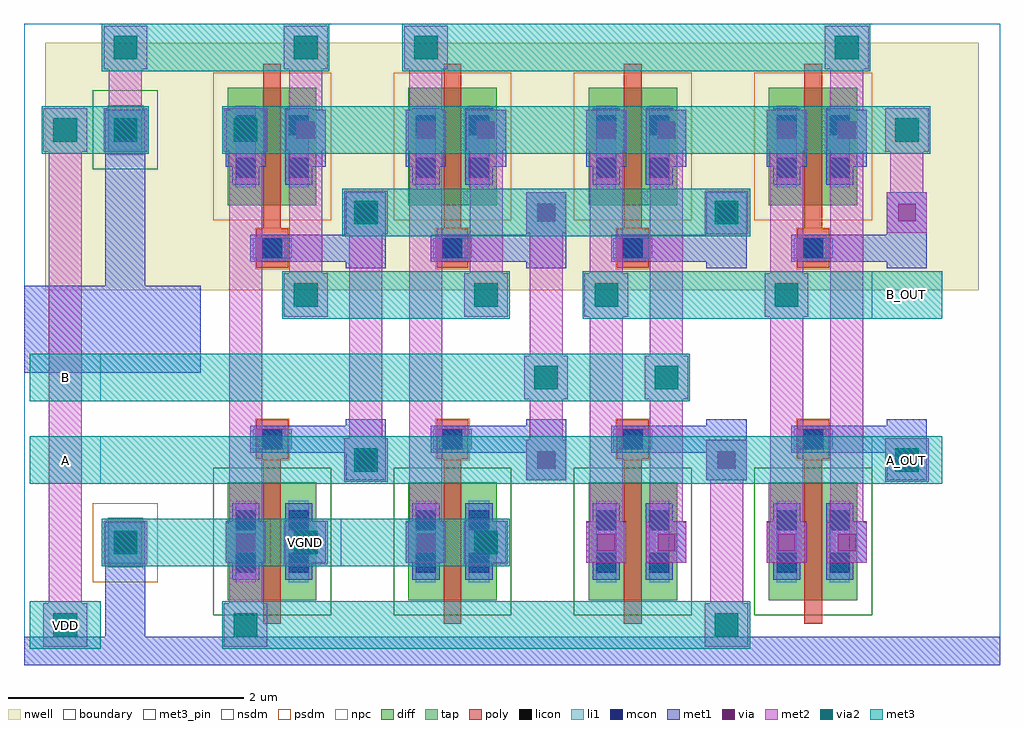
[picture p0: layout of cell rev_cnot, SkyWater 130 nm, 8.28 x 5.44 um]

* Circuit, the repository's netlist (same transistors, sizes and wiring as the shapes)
* NGSPICE file created from rev_cnot.ext - technology: sky130A

.subckt rev_cnot VDD VGND A B A_OUT B_OUT
X0 VDD B a_652_110# VDD sky130_fd_pr__pfet_01v8 ad=0.3 pd=2.6 as=0.3 ps=2.6 w=1 l=0.15
X1 VGND A a_346_110# VGND sky130_fd_pr__nfet_01v8 ad=0.3 pd=2.6 as=0.3 ps=2.6 w=1 l=0.15
V0 A A_OUT 0
X2 VGND B a_652_110# VGND sky130_fd_pr__nfet_01v8 ad=0.3 pd=2.6 as=0.3 ps=2.6 w=1 l=0.15
X3 B A B_OUT VDD sky130_fd_pr__pfet_01v8 ad=0.3 pd=2.6 as=0.3 ps=2.6 w=1 l=0.15
X4 a_652_110# a_346_110# B_OUT VDD sky130_fd_pr__pfet_01v8 ad=0.3 pd=2.6 as=0.3 ps=2.6 w=1 l=0.15
X5 B a_346_110# B_OUT VGND sky130_fd_pr__nfet_01v8 ad=0.3 pd=2.6 as=0.3 ps=2.6 w=1 l=0.15
X6 a_652_110# A B_OUT VGND sky130_fd_pr__nfet_01v8 ad=0.3 pd=2.6 as=0.3 ps=2.6 w=1 l=0.15
X7 VDD A a_346_110# VDD sky130_fd_pr__pfet_01v8 ad=0.3 pd=2.6 as=0.3 ps=2.6 w=1 l=0.15
.ends

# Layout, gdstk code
import gdstk
lib = gdstk.Library(unit=1e-6, precision=1e-09)
def R(c, l, rs):  # rectangles x0, y0, x1, y1
    for r in rs: c.add(gdstk.rectangle(r[:2], r[2:], *l))
def A(c, l, x, y, w, h, nx, ny, dx, dy):  # array of equal rectangles
    R(c, l, [(x+i*dx, y+j*dy, x+i*dx+w, y+j*dy+h) for i in range(nx) for j in range(ny)])
nwell = (64, 20)
diff = (65, 20)
tap = (65, 44)
poly = (66, 20)
licon = (66, 44)
li1 = (67, 20)
mcon = (67, 44)
met1 = (68, 20)
via = (68, 44)
met2 = (69, 20)
via2 = (69, 44)
met3_pin = (70, 16)
met3 = (70, 20)
nsdm = (93, 44)
psdm = (94, 20)
npc = (95, 20)
boundary = (235, 4)

rev_cnot = lib.new_cell('rev_cnot')
A(rev_cnot, nwell, 1.425, 3.18, 1.36, 2.1, 4, 1, 1.53, 0)
R(rev_cnot, nwell, [(0.18,3.18,8.1,5.28)])
A(rev_cnot, diff, 1.73, 0.55, 0.75, 1, 4, 2, 1.53, 3.35)
R(rev_cnot, tap, [(0.71,0.83,1.01,1.25), (0.71,4.33,1.01,4.75)])
A(rev_cnot, poly, 2.03, 0.35, 0.15, 1.4, 4, 2, 1.53, 3.35)
A(rev_cnot, poly, 1.97, 1.75, 0.27, 0.33, 4, 2, 1.53, 1.62)
A(rev_cnot, licon, 2.02, 1.83, 0.17, 0.17, 4, 2, 1.53, 1.62)
R(rev_cnot, licon, [(1.795,0.785,1.965,0.955), (2.245,0.785,2.415,0.955), (3.325,0.785,3.495,0.955), (3.775,0.785,3.945,0.955), (4.855,0.785,5.025,0.955), (5.305,0.785,5.475,0.955), (6.385,0.785,6.555,0.955), (6.835,0.785,7.005,0.955), (0.775,0.955,0.945,1.125), (1.795,1.145,1.965,1.315), (2.245,1.145,2.415,1.315), (3.325,1.145,3.495,1.315), (3.775,1.145,3.945,1.315), (4.855,1.145,5.025,1.315), (5.305,1.145,5.475,1.315), (6.385,1.145,6.555,1.315), (6.835,1.145,7.005,1.315), (1.795,4.135,1.965,4.305), (2.245,4.135,2.415,4.305), (3.325,4.135,3.495,4.305), (3.775,4.135,3.945,4.305), (4.855,4.135,5.025,4.305), (5.305,4.135,5.475,4.305), (6.385,4.135,6.555,4.305), (6.835,4.135,7.005,4.305), (0.775,4.455,0.945,4.625), (1.795,4.495,1.965,4.665), (2.245,4.495,2.415,4.665), (3.325,4.495,3.495,4.665), (3.775,4.495,3.945,4.665), (4.855,4.495,5.025,4.665), (5.305,4.495,5.475,4.665), (6.385,4.495,6.555,4.665), (6.835,4.495,7.005,4.665)])
A(rev_cnot, li1, 1.94, 1.83, 0.33, 0.17, 4, 2, 1.53, 1.62)
R(rev_cnot, li1, [(1.795,0.705,1.965,1.395), (2.245,0.705,2.415,1.395), (3.325,0.705,3.495,1.395), (3.775,0.705,3.945,1.395), (4.855,0.705,5.025,1.395), (5.305,0.705,5.475,1.395), (6.385,0.705,6.555,1.395), (6.835,0.705,7.005,1.395), (0.72,0.87,1,1.21), (1.795,4.055,1.965,4.745), (2.245,4.055,2.415,4.745), (3.325,4.055,3.495,4.745), (3.775,4.055,3.945,4.745), (4.855,4.055,5.025,4.745), (5.305,4.055,5.475,4.745), (6.385,4.055,6.555,4.745), (6.835,4.055,7.005,4.745), (0.72,4.37,1,4.71)])
A(rev_cnot, mcon, 2.02, 1.83, 0.17, 0.17, 4, 2, 1.53, 1.62)
R(rev_cnot, mcon, [(1.795,0.785,1.965,0.955), (2.245,0.785,2.415,0.955), (3.325,0.785,3.495,0.955), (3.775,0.785,3.945,0.955), (4.855,0.785,5.025,0.955), (5.305,0.785,5.475,0.955), (6.385,0.785,6.555,0.955), (6.835,0.785,7.005,0.955), (0.775,0.955,0.945,1.125), (1.795,1.145,1.965,1.315), (2.245,1.145,2.415,1.315), (3.325,1.145,3.495,1.315), (3.775,1.145,3.945,1.315), (4.855,1.145,5.025,1.315), (5.305,1.145,5.475,1.315), (6.385,1.145,6.555,1.315), (6.835,1.145,7.005,1.315), (1.795,4.135,1.965,4.305), (2.245,4.135,2.415,4.305), (3.325,4.135,3.495,4.305), (3.775,4.135,3.945,4.305), (4.855,4.135,5.025,4.305), (5.305,4.135,5.475,4.305), (6.385,4.135,6.555,4.305), (6.835,4.135,7.005,4.305), (0.775,4.455,0.945,4.625), (1.795,4.495,1.965,4.665), (2.245,4.495,2.415,4.665), (3.325,4.495,3.495,4.665), (3.775,4.495,3.945,4.665), (4.855,4.495,5.025,4.665), (5.305,4.495,5.475,4.665), (6.385,4.495,6.555,4.665), (6.835,4.495,7.005,4.665)])
A(rev_cnot, met1, 1.765, 0.935, 0.23, 0.23, 4, 2, 1.53, 3.35)
A(rev_cnot, met1, 2.215, 0.935, 0.29, 0.23, 4, 2, 1.53, 3.35)
A(rev_cnot, met1, 2.73, 1.57, 0.34, 0.34, 4, 2, 1.53, 2.1)
A(rev_cnot, met1, 2.73, 1.57, 0.34, 0.515, 4, 1, 1.53, 0)
A(rev_cnot, met1, 1.92, 1.8, 0.37, 0.23, 4, 2, 1.53, 1.62)
A(rev_cnot, met1, 1.99, 1.8, 1.025, 0.23, 4, 2, 1.53, 1.62)
A(rev_cnot, met1, 2.73, 3.365, 0.34, 0.645, 4, 1, 1.53, 0)
R(rev_cnot, met1, [(0,0,8.28,0.24), (0.69,0,1.03,1.21), (1.765,0.725,1.995,1.375), (2.215,0.725,2.445,1.375), (3.295,0.725,3.525,1.375), (3.745,0.725,3.975,1.375), (4.825,0.725,5.055,1.375), (5.275,0.725,5.505,1.375), (6.355,0.725,6.585,1.375), (6.805,0.725,7.035,1.375), (0.69,0.87,1.03,1.21), (1.71,0.87,2.05,1.22), (1.71,0.87,2.05,1.21), (2.22,0.87,2.56,1.22), (2.22,0.87,2.56,1.21), (3.24,0.87,3.58,1.22), (3.24,0.87,3.58,1.21), (3.75,0.87,4.09,1.22), (3.75,0.87,4.09,1.21), (4.77,0.87,5.11,1.22), (4.77,0.87,5.11,1.21), (5.28,0.87,5.62,1.22), (5.28,0.87,5.62,1.21), (6.3,0.87,6.64,1.22), (6.3,0.87,6.64,1.21), (6.81,0.87,7.15,1.22), (6.81,0.87,7.15,1.21), (0,2.48,1.5,3.22), (0.69,3.22,1.03,4.71), (1.765,4.075,1.995,4.725), (2.215,4.075,2.445,4.725), (3.295,4.075,3.525,4.725), (3.745,4.075,3.975,4.725), (4.825,4.075,5.055,4.725), (5.275,4.075,5.505,4.725), (6.355,4.075,6.585,4.725), (6.805,4.075,7.035,4.725), (1.71,4.23,2.05,4.71), (2.22,4.23,2.56,4.71), (3.24,4.23,3.58,4.71), (3.75,4.23,4.09,4.71), (4.77,4.23,5.11,4.71), (5.28,4.23,5.62,4.71), (6.3,4.23,6.64,4.71), (6.81,4.23,7.15,4.71), (0.69,4.37,1.03,4.71), (1.71,4.37,2.05,4.71), (2.22,4.37,2.56,4.71), (3.24,4.37,3.58,4.71), (3.75,4.37,4.09,4.71), (4.77,4.37,5.11,4.71), (5.28,4.37,5.62,4.71), (6.3,4.37,6.64,4.71), (6.81,4.37,7.15,4.71)])
A(rev_cnot, via, 2.825, 1.665, 0.15, 0.15, 4, 2, 1.53, 2.1)
R(rev_cnot, via, [(0.785,0.965,0.935,1.115), (1.805,0.965,1.955,1.115), (2.315,0.965,2.465,1.115), (3.335,0.965,3.485,1.115), (3.845,0.965,3.995,1.115), (4.865,0.965,5.015,1.115), (5.375,0.965,5.525,1.115), (6.395,0.965,6.545,1.115), (6.905,0.965,7.055,1.115), (0.785,4.465,0.935,4.615), (1.805,4.465,1.955,4.615), (2.315,4.465,2.465,4.615), (3.335,4.465,3.485,4.615), (3.845,4.465,3.995,4.615), (4.865,4.465,5.015,4.615), (5.375,4.465,5.525,4.615), (6.395,4.465,6.545,4.615), (6.905,4.465,7.055,4.615)])
A(rev_cnot, met2, 0.675, 0.855, 0.37, 0.37, 3, 1, 1.53, 0)
A(rev_cnot, met2, 0.21, 0.9, 0.28, 0.98, 4, 1, 1.53, 0)
A(rev_cnot, met2, 5.31, 0.9, 0.28, 0.98, 4, 1, 0.51, 0)
A(rev_cnot, met2, 2.73, 1.57, 0.34, 0.34, 4, 2, 1.53, 2.1)
A(rev_cnot, met2, 0.21, 1.6, 0.28, 0.98, 1, 4, 0, 0.7)
A(rev_cnot, met2, 4.29, 1.6, 0.28, 0.98, 3, 2, 0.51, 0.7)
A(rev_cnot, met2, 6.33, 1.6, 0.28, 0.98, 1, 3, 0, 0.7)
A(rev_cnot, met2, 6.84, 1.6, 0.28, 0.98, 1, 3, 0, 0.7)
A(rev_cnot, met2, 1.74, 3, 0.28, 0.98, 8, 1, 0.51, 0)
A(rev_cnot, met2, 6.33, 3.7, 0.28, 0.98, 3, 1, 0.51, 0)
R(rev_cnot, met2, [(0.165,0.155,0.535,0.525), (1.695,0.155,2.065,0.525), (5.775,0.155,6.145,0.525), (0.21,0.2,0.49,1.18), (1.74,0.2,2.02,1.18), (5.82,0.2,6.1,1.18), (0.69,0.87,1.03,1.21), (1.71,0.87,2.05,1.21), (2.22,0.87,2.56,1.21), (3.24,0.87,3.58,1.21), (3.75,0.87,4.09,1.21), (4.77,0.87,5.11,1.21), (5.28,0.87,5.62,1.21), (6.3,0.87,6.64,1.21), (6.81,0.87,7.15,1.21), (2.715,1.555,3.085,1.925), (7.305,1.555,7.675,1.925), (1.74,1.6,2.02,2.58), (2.76,1.6,3.04,2.58), (3.27,1.6,3.55,2.58), (4.245,2.255,4.615,2.625), (5.265,2.255,5.635,2.625), (1.74,2.3,2.02,3.28), (2.76,2.3,3.04,3.28), (3.27,2.3,3.55,3.28), (2.205,2.955,2.575,3.325), (3.735,2.955,4.105,3.325), (4.755,2.955,5.125,3.325), (6.285,2.955,6.655,3.325), (2.715,3.655,3.085,4.025), (5.775,3.655,6.145,4.025), (1.74,3.7,2.02,4.68), (2.25,3.7,2.53,4.68), (3.27,3.7,3.55,4.68), (3.78,3.7,4.06,4.68), (4.8,3.7,5.08,4.68), (5.31,3.7,5.59,4.68), (0.165,4.355,0.535,4.725), (0.675,4.355,1.045,4.725), (1.695,4.355,2.065,4.725), (7.305,4.355,7.675,4.725), (0.69,4.37,1.03,4.71), (1.71,4.37,2.05,4.71), (2.22,4.37,2.56,4.71), (3.24,4.37,3.58,4.71), (3.75,4.37,4.09,4.71), (4.77,4.37,5.11,4.71), (5.28,4.37,5.62,4.71), (6.3,4.37,6.64,4.71), (6.81,4.37,7.15,4.71), (0.72,4.4,1,5.38), (2.25,4.4,2.53,5.38), (3.27,4.4,3.55,5.38), (6.84,4.4,7.12,5.38), (0.675,5.055,1.045,5.425), (2.205,5.055,2.575,5.425), (3.225,5.055,3.595,5.425), (6.795,5.055,7.165,5.425)])
A(rev_cnot, via2, 0.76, 0.94, 0.2, 0.2, 3, 1, 1.53, 0)
R(rev_cnot, via2, [(0.25,0.24,0.45,0.44), (1.78,0.24,1.98,0.44), (5.86,0.24,6.06,0.44), (2.8,1.64,3,1.84), (7.39,1.64,7.59,1.84), (4.33,2.34,4.53,2.54), (5.35,2.34,5.55,2.54), (2.29,3.04,2.49,3.24), (3.82,3.04,4.02,3.24), (4.84,3.04,5.04,3.24), (6.37,3.04,6.57,3.24), (2.8,3.74,3,3.94), (5.86,3.74,6.06,3.94), (0.25,4.44,0.45,4.64), (0.76,4.44,0.96,4.64), (1.78,4.44,1.98,4.64), (7.39,4.44,7.59,4.64), (0.76,5.14,0.96,5.34), (2.29,5.14,2.49,5.34), (3.31,5.14,3.51,5.34), (6.88,5.14,7.08,5.34)])
R(rev_cnot, met3_pin, [(0.05,0.14,0.65,0.54), (2.09,0.84,2.69,1.24), (0.05,1.54,0.65,1.94), (7.19,1.54,7.79,1.94), (0.05,2.24,0.65,2.64), (7.19,2.94,7.79,3.34)])
A(rev_cnot, met3, 1.68, 0.14, 0.91, 0.4, 8, 1, 0.51, 0)
A(rev_cnot, met3, 0.66, 0.84, 0.91, 0.4, 6, 1, 0.51, 0)
A(rev_cnot, met3, 0.66, 0.84, 0.4, 0.4, 3, 1, 1.53, 0)
A(rev_cnot, met3, 0.15, 1.54, 0.91, 0.4, 14, 1, 0.51, 0)
A(rev_cnot, met3, 0.15, 2.24, 0.91, 0.4, 10, 1, 0.51, 0)
A(rev_cnot, met3, 2.19, 2.94, 0.91, 0.4, 3, 1, 0.51, 0)
A(rev_cnot, met3, 4.74, 2.94, 0.91, 0.4, 5, 1, 0.51, 0)
A(rev_cnot, met3, 2.7, 3.64, 0.91, 0.4, 6, 1, 0.51, 0)
A(rev_cnot, met3, 1.68, 4.34, 0.91, 0.4, 11, 1, 0.51, 0)
A(rev_cnot, met3, 0.66, 5.04, 0.91, 0.4, 3, 1, 0.51, 0)
A(rev_cnot, met3, 3.21, 5.04, 0.91, 0.4, 7, 1, 0.51, 0)
R(rev_cnot, met3, [(0.05,0.14,0.65,0.54), (0.15,0.14,0.55,0.54), (1.68,0.14,2.08,0.54), (5.76,0.14,6.16,0.54), (2.09,0.84,2.69,1.24), (0.05,1.54,0.65,1.94), (2.7,1.54,3.1,1.94), (7.19,1.54,7.79,1.94), (7.29,1.54,7.69,1.94), (0.05,2.24,0.65,2.64), (4.23,2.24,4.63,2.64), (5.25,2.24,5.65,2.64), (2.19,2.94,2.59,3.34), (3.72,2.94,4.12,3.34), (4.74,2.94,5.14,3.34), (6.27,2.94,6.67,3.34), (7.19,2.94,7.79,3.34), (2.7,3.64,3.1,4.04), (5.76,3.64,6.16,4.04), (0.15,4.34,1.06,4.74), (0.15,4.34,0.55,4.74), (0.66,4.34,1.06,4.74), (1.68,4.34,2.08,4.74), (7.29,4.34,7.69,4.74), (0.66,5.04,1.06,5.44), (2.19,5.04,2.59,5.44), (3.21,5.04,3.61,5.44), (6.78,5.04,7.18,5.44)])
A(rev_cnot, nsdm, 1.605, 0.425, 1, 1.25, 4, 1, 1.53, 0)
R(rev_cnot, nsdm, [(0.585,4.205,1.135,4.875)])
A(rev_cnot, psdm, 1.605, 3.775, 1, 1.25, 4, 1, 1.53, 0)
R(rev_cnot, psdm, [(0.585,0.705,1.135,1.375)])
A(rev_cnot, npc, 1.96, 1.74, 0.29, 0.35, 4, 2, 1.53, 1.62)
R(rev_cnot, boundary, [(0,0,8.28,5.44)])
rev_cnot.add(gdstk.Label('VDD', (0.35,0.34), layer=70, texttype=5))
rev_cnot.add(gdstk.Label('VGND', (2.39,1.04), layer=70, texttype=5))
rev_cnot.add(gdstk.Label('A', (0.35,1.74), layer=70, texttype=5))
rev_cnot.add(gdstk.Label('B', (0.35,2.44), layer=70, texttype=5))
rev_cnot.add(gdstk.Label('A_OUT', (7.49,1.74), layer=70, texttype=5))
rev_cnot.add(gdstk.Label('B_OUT', (7.49,3.14), layer=70, texttype=5))

lib.write_gds('rev_cnot.gds')
